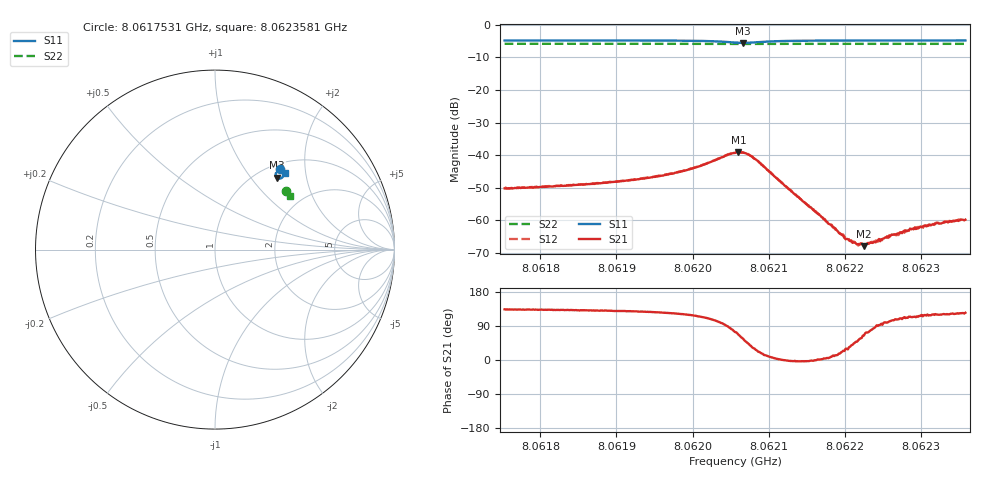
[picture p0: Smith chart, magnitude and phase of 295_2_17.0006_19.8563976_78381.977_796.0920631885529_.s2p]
#  HZ  S  RI  R  50.00
! Rohde & Schwarz Vector Network Analyzer
! Rohde-Schwarz,ZNB20-2Port,1311601062101988,3.16
! Created: UTC 3/20/2024, 11:05:16 PM
! freq[Hz]  re:S11  im:S11  re:S21  im:S21  re:S12  im:S12  re:S22  im:S22
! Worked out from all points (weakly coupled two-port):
!   401 points, 8.0617531 GHz to 8.0623581 GHz, reference 50 ohm
!   highest |S21| = -39.13 dB at 8.0620601 GHz (marker M1); lowest = -68.0 dB at 8.062225 GHz (marker M2)
!   lowest |S11| = -5.5 dB at 8.0620662 GHz (marker M3), VSWR 3.25, Z = 61.3 + j68.1 ohm
!   |S11| at or under -10 dB: nowhere
!   |S22| runs from -5.9 to -5.8 dB; largest |S21 - S12| = 0.00091
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8.0617531e9  0.3614 0.4483  -0.00213 0.00223  -0.00198 0.0024  0.3937 0.3273
8.06185444e9  0.3686 0.4421  -0.00234 0.00265  -0.00219 0.00283  0.3975 0.3224
8.06191343e9  0.3732 0.4373  -0.00255 0.00318  -0.0024 0.00334  0.3998 0.3191
8.06195578e9  0.3769 0.4324  -0.00277 0.00388  -0.00255 0.00407  0.4015 0.317
8.06200266e9  0.3811 0.4223  -0.00291 0.00572  -0.00258 0.00594  0.4031 0.3143
8.0620556e9  0.3607 0.3955  0.00299 0.0104  0.0036 0.0105  0.4037 0.311
8.06206014e9  0.3542 0.3961  0.00435 0.0102  0.00518 0.00987  0.4035 0.3107
8.06206619e9  0.346 0.4  0.00613 0.00912  0.00671 0.00856  0.4034 0.3107
8.06207526e9  0.3383 0.4113  0.00769 0.00622  0.00807 0.00574  0.4035 0.3109
8.06208434e9  0.3382 0.4229  0.0075 0.00353  0.00779 0.00308  0.404 0.3111
8.06215693e9  0.3669 0.4386  0.00149 -4.6e-05  0.00145 -0.000124  0.408 0.3081
8.06220231e9  0.3742 0.4357  0.000452 0.000257  0.00047 0.000231  0.4098 0.3055
8.06221592e9  0.3758 0.4349  0.000281 0.000316  0.000291 0.000311  0.4103 0.3049
8.062225e9  0.3768 0.4343  0.00017 0.000363  0.000198 0.000354  0.4106 0.3044
8.06223861e9  0.3782 0.4333  4.16e-05 0.000471  7e-05 0.000434  0.411 0.3037
8.06225827e9  0.38 0.4321  -0.000112 0.000542  -7.19e-05 0.000588  0.4119 0.3027
8.06226886e9  0.3809 0.4316  -0.000182 0.000598  -0.000178 0.000568  0.4123 0.3021
8.06227642e9  0.3815 0.4311  -0.000242 0.000623  -0.00023 0.000666  0.4125 0.3017
8.06228852e9  0.3824 0.4303  -0.000295 0.000685  -0.000263 0.000648  0.4129 0.3013
8.06229608e9  0.3831 0.4299  -0.000305 0.000684  -0.000283 0.000738  0.4133 0.3006
8.06231877e9  0.3846 0.4285  -0.00046 0.000761  -0.000374 0.000829  0.414 0.2995
8.06235809e9  0.3876 0.4263  -0.000583 0.000841  -0.000476 0.000887  0.4154 0.2975
